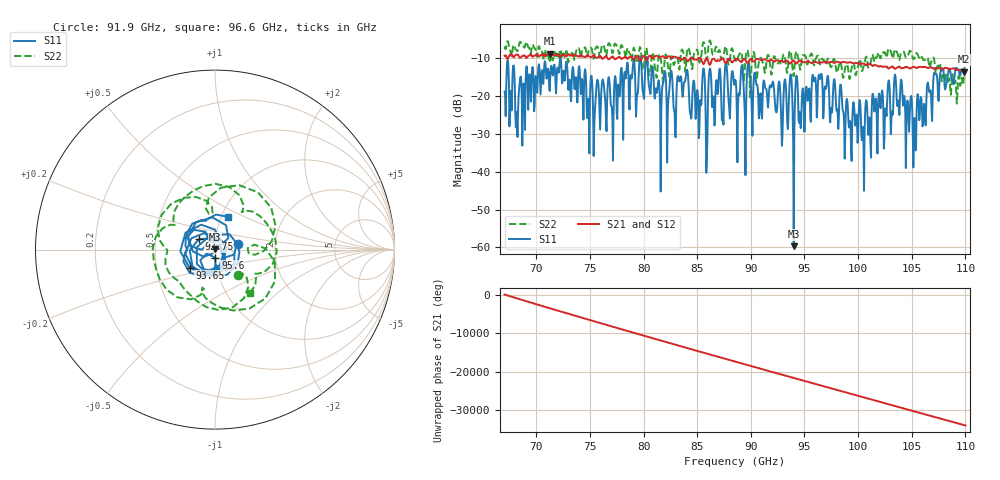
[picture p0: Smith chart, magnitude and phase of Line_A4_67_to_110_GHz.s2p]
#  HZ  S  MA  R  50.00
! Rohde & Schwarz ZVA67 4Ports - Version 4.11 - 1305.7002k04 SN: 101051
! Date: 2023-09-13 16:13:49
! Measurements: S11 S21 S12 S22
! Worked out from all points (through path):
!   860 points, 67.05 GHz to 110 GHz, reference 50 ohm
!   highest |S21| = -8.78 dB at 71.25 GHz (marker M1); lowest = -13.5 dB at 109.9 GHz (marker M2)
!   lowest |S11| = -59.7 dB at 94 GHz (marker M3), VSWR 1.00, Z = 50.1 + j0.0898 ohm
!   |S11| at or under -10 dB: start of sweep to 72.24 GHz; 72.26 GHz to 79.65 GHz (7.391 GHz wide, 9.73 % of centre); 80.32 GHz to end of sweep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
!   |S22| runs from -22.0 to -5.3 dB; largest |S21 - S12| = 0.052
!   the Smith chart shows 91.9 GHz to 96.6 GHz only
!   S11 on the Smith chart (normalised r, x): 91.9 GHz: 1.28, +0.09; 92.75 GHz: 0.83, +0.10; 93.65 GHz: 0.74, -0.15; 95.6 GHz: 1.00, -0.09; 96.6 GHz: 1.08, +0.41
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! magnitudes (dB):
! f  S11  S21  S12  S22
! 67.05 GHz  -18.8  -9.3  -9.3  -6.8
! 68.2 GHz  -25.9  -9.0  -9.0  -8.0
! 71.25 GHz  -18.6  -8.8  -8.8  -11.1
! 74.25 GHz  -15.5  -9.4  -9.3  -8.3
! 77.05 GHz  -22.9  -9.6  -9.6  -8.1
! 80.3 GHz  -9.7  -10.5  -10.4  -7.6
! 81.4 GHz  -15.8  -9.7  -9.7  -9.6
! 88.55 GHz  -15.7  -10.3  -10.3  -10.1
! 91.9 GHz  -17.7  -10.4  -10.4  -14.3
! 92.75 GHz  -19.4  -10.7  -10.7  -11.1
! 93.65 GHz  -15.2  -11.4  -11.4  -8.0
! 94 GHz  -59.7  -10.6  -10.6  -14.8
! 95.6 GHz  -26.8  -11.2  -11.2  -8.9
! 95.7 GHz  -15.7  -11.3  -11.3  -8.9
! 96.6 GHz  -14.1  -11.1  -11.1  -10.1
! 100.5 GHz  -28.2  -11.4  -11.4  -12.7
! 102.8 GHz  -15.8  -12.7  -12.7  -7.4
! 104.2 GHz  -20.6  -12.6  -12.6  -8.5
! 105.2 GHz  -25.8  -12.3  -12.3  -10.0
! 107.2 GHz  -14.2  -12.7  -12.6  -13.5
! 109.9 GHz  -12.6  -13.5  -13.4  -13.7
! 110 GHz  -13.3  -13.5  -13.4  -14.1
